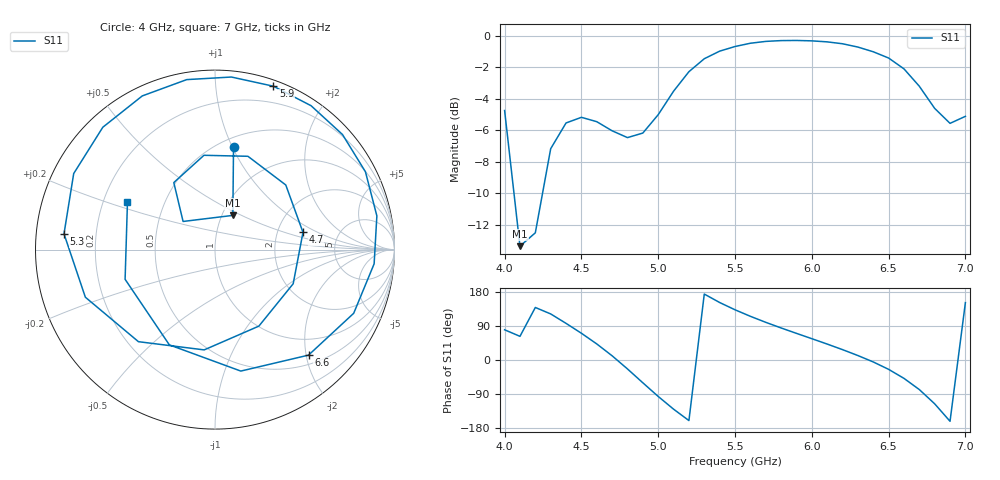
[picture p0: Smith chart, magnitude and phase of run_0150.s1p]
! Touchstone file exported from HFSS 2024.2.0
!  File:  C:/Users/wsak9/Desktop/Sim Fast/Widenad Patch/WP_AI_V1_sweep.aedt
!  Generated:  09:10:10 PM Oct 13, 2026
!  Design:  A1_model
!  Project:  WP_AI_V1_sweep
!  Setup:  Setup1
!  Solution:  Sweep
! Variables:
!  Air_gap = 4.23mm
!  Curve_Amp1 = 2.86
!  Curve_len1 = 1
!  Curve_pos = 13.275mm
!  Extra = 7.43mm
!  H_sub = 0.79mm
!  L_Patch = 22.55mm
!  L_Patch1 = 17.43mm
!  Sx = 3.67mm
!  Sy = 1.26mm
!  WS = 0.82mm
!  W_Patch = 16.66mm
!  W_Patch1 = 10mm
!Data is not renormalized
# GHz S MA
! Terminal data exported
! Port[1] = 1
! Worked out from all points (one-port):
!   31 points, 4 GHz to 7 GHz, reference per port
!   lowest |S11| = -13.4 dB at 4.1 GHz (marker M1), VSWR 1.55
!   |S11| at or under -10 dB: 4.061 GHz to 4.247 GHz (185.8 MHz wide, 4.47 % of centre)
!   S11 on the Smith chart (normalised r, x): 4 GHz: 0.59, +1.01; 4.7 GHz: 2.79, +0.71; 5.3 GHz: 0.08, +0.05; 5.9 GHz: 0.05, +1.42; 6.6 GHz: 0.67, -2.04; 7 GHz: 0.30, +0.23
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4  0.5794 79.7
4.1  0.215 62.4
4.2  0.2371 138.6
4.3  0.4383 121.6
4.4  0.529 96.7
4.5  0.5513 70.6
4.6  0.534 42.4
4.7  0.4996 11.1
4.8  0.4753 -23.6
4.9  0.4914 -60.2
5  0.562 -96.2
5.1  0.6672 -129.7
5.2  0.7695 -159.8
5.3  0.8459 174.0
5.4  0.894 151.7
5.5  0.9249 132.5
5.6  0.9473 115.3
5.7  0.9601 99.4
5.9  0.9668 70.3
6.1  0.9569 42.1
6.3  0.9212 11.8
6.4  0.8902 -5.1
6.5  0.8503 -24.7
6.6  0.7856 -48.4
6.7  0.6919 -78.0
6.8  0.5885 -115.6
6.9  0.5275 -161.7
7  0.5552 151.4
